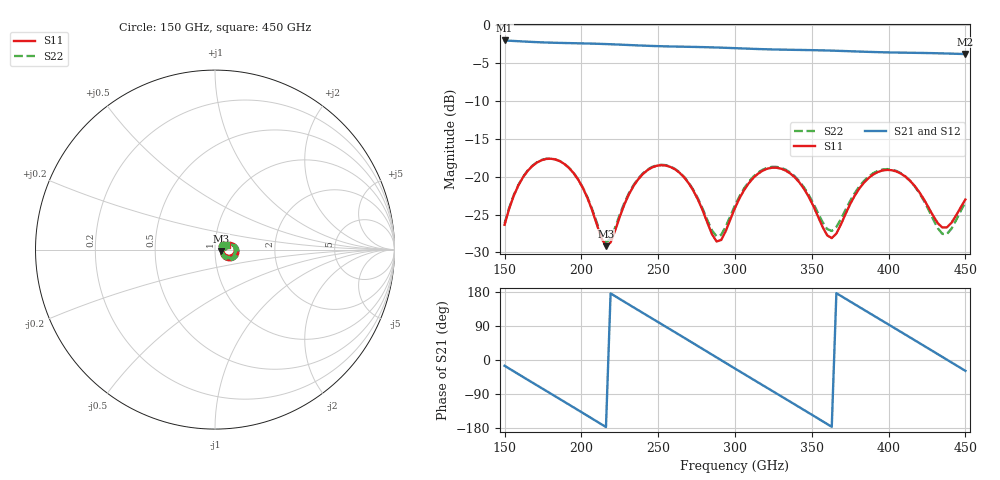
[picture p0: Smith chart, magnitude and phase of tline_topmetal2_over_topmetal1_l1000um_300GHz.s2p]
#  GHZ S DB R 50
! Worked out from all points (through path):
!   101 points, 150 GHz to 450 GHz, reference 50 ohm
!   highest |S21| = -2.07 dB at 150 GHz (marker M1); lowest = -3.9 dB at 450 GHz (marker M2)
!   group delay of S21, straight-line fit = 6.79 ps
!   lowest |S11| = -29.2 dB at 216 GHz (marker M3), VSWR 1.07, Z = 53.5 - j0.815 ohm
!   |S11| at or under -10 dB: start of sweep to end of sweep
!   |S22| runs from -28.7 to -17.6 dB; largest |S21 - S12| = 8.7e-14
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150  -26.34 26.2  -2.07 -15.2  -2.07 -15.2  -26.17 25.3
162  -20.09 21.5  -2.21 -44.7  -2.21 -44.7  -20.04 21.1
177  -17.68 -3.8  -2.34 -81.3  -2.34 -81.3  -17.66 -3.9
189  -18.36 -25.1  -2.41 -110.5  -2.41 -110.5  -18.34 -24.8
201  -21.52 -41.8  -2.46 -140.0  -2.46 -140.0  -21.47 -40.8
216  -29.17 -12.6  -2.55 -176.9  -2.55 -176.9  -28.66 -11.9
231  -22.32 24.5  -2.67 146.2  -2.67 146.2  -22.16 23.1
252  -18.50 -5.3  -2.83 95.0  -2.83 95.0  -18.45 -5.8
267  -20.14 -28.9  -2.90 58.4  -2.90 58.4  -20.07 -28.6
288  -28.55 -10.9  -3.00 6.9  -3.00 6.9  -27.88 -10.4
300  -24.14 25.9  -3.09 -22.6  -3.09 -22.6  -23.80 23.3
315  -19.63 12.8  -3.20 -59.1  -3.20 -59.1  -19.48 11.0
327  -18.84 -5.8  -3.27 -88.3  -3.27 -88.3  -18.73 -7.1
351  -23.87 -32.4  -3.35 -146.8  -3.35 -146.8  -23.55 -31.9
363  -28.11 -1.3  -3.41 -176.3  -3.41 -176.3  -27.17 -3.4
375  -23.63 26.0  -3.49 154.3  -3.49 154.3  -23.21 20.6
390  -19.73 12.6  -3.60 117.8  -3.60 117.8  -19.56 7.6
402  -19.17 -4.8  -3.65 88.7  -3.65 88.7  -19.08 -9.9
414  -20.56 -20.6  -3.69 59.5  -3.69 59.5  -20.57 -26.2
429  -25.17 -21.7  -3.75 22.8  -3.75 22.8  -25.63 -28.6
438  -26.69 3.6  -3.79 0.8  -3.79 0.8  -27.57 0.2
450  -23.03 22.1  -3.87 -28.6  -3.87 -28.6  -23.38 21.2
